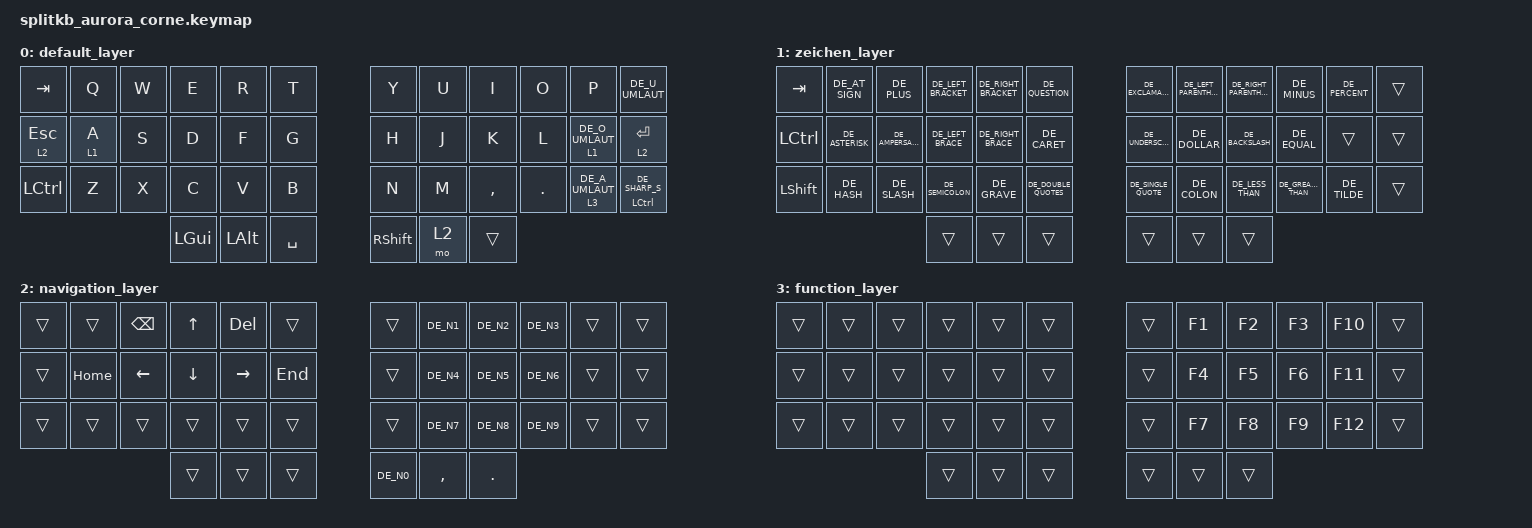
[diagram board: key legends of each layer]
/*
 * Copyright (c) 2020 The ZMK Contributors
 *
 * SPDX-License-Identifier: MIT
 */

#include <behaviors.dtsi>
#include <dt-bindings/zmk/keys.h>
#include <dt-bindings/zmk/bt.h>
#include <locale/keys_de.h>

/ {
        keymap {
                compatible = "zmk,keymap";

                default_layer { //0
// -----------------------------------------------------------------------------------------
// |  TAB |  Q  |  W  |  E  |  R  |  T  |   |  Z  |  U   |  I  |  O  |  P  | Ü |
// |  ESC + n_l   |  A + z_l |  S  |  D  |  F  |  G  |   |  H  |  J   |  K  |  L |  Ö + z_l  |  ENT + n_l  |
// | CTRL |  Y  |  X  |  C  |  V  |  B  |   |  N  |  M   |  ,  |  .  |  Ä + f_l | ß + STRG  |
//                    | GUI | LALT | SPC |   | RSHIFT | n_l  |  |
                        bindings = <
   &kp TAB   &kp Q &kp W &kp E &kp R &kp T   &kp Y &kp U  &kp I     &kp O   &kp P    &kp DE_U_UMLAUT
   &lt 2 ESC &lt 1 A &kp S &kp D &kp F &kp G   &kp H &kp J  &kp K     &kp L   &lt 1 DE_O_UMLAUT &lt 2 ENTER
   &kp LCTRL &kp Z &kp X &kp C &kp V &kp B   &kp N &kp M  &kp COMMA &kp DOT &lt 3 DE_A_UMLAUT &mt LCTRL DE_SHARP_S
                  &kp LGUI &kp LALT &kp SPACE   &kp RSHIFT &mo 2 &trans
                        >;
                };

                zeichen_layer { //1
// -----------------------------------------------------------------------------------------
// |  TAB |  @  |  +  |  [  |  ]  |  ?  |   |  !  |  (  |  )  |  -  |  %  |      |
// | CTRL |  *  |  &  |  {  |  }  |  ^  |   |  _  |  $  |  \  |  =  |     |      |
// | SHFT |  #  |  /  |  ;  |  `  |  "  |   |  '  |  :  |  <  |  >  |  ~  |      |
//                    |     |     |     |   |     |     |     |
                        bindings = <
   &kp    TAB   &kp DE_AT_SIGN  &kp DE_PLUS      &kp DE_LEFT_BRACKET &kp DE_RIGHT_BRACKET &kp DE_QUESTION                   &kp DE_EXCLAMATION  &kp DE_LEFT_PARENTHESIS  &kp DE_RIGHT_PARENTHESIS  &kp DE_MINUS        &kp DE_PERCENT    &trans
   &kp    LCTRL &kp DE_ASTERISK &kp DE_AMPERSAND &kp DE_LEFT_BRACE   &kp DE_RIGHT_BRACE   &kp DE_CARET                      &kp DE_UNDERSCORE   &kp DE_DOLLAR            &kp DE_BACKSLASH          &kp DE_EQUAL        &trans            &trans
   &kp    LSHFT &kp DE_HASH     &kp DE_SLASH     &kp DE_SEMICOLON    &kp DE_GRAVE         &kp DE_DOUBLE_QUOTES              &kp DE_SINGLE_QUOTE &kp DE_COLON             &kp DE_LESS_THAN          &kp DE_GREATER_THAN &kp DE_TILDE      &trans
                                                 &trans              &trans               &trans                            &trans              &trans                   &trans
                        >;
                };

                navigation_layer { //2
// -----------------------------------------------------------------------------------------
// |      |     |BSPC | UP  |DEL  |     |   |     |  1  |  2  |  3  |     |      |
// |      |HOME |LEFT |DOWN |RIGHT|END  |   |     |  4  |  5  |  6  |     |      |
// |      |     |     |     |     |     |   |     |  7  |  8  |  9  |     |      |
//                    |     |     |     |   |  0  |  ,  |  .  |
                        bindings = <
   &trans  &trans  &kp BSPC &kp UP &kp DEL &trans   &trans &kp DE_N1  &kp DE_N2 &kp DE_N3 &trans &trans
   &trans  &kp HOME &kp LEFT &kp DOWN &kp RIGHT &kp END    &trans &kp DE_N4 &kp DE_N5 &kp DE_N6  &trans &trans
   &trans &trans   &trans &trans   &trans   &trans      &trans &kp DE_N7  &kp DE_N8  &kp DE_N9 &trans &trans
                             &trans &trans   &trans   &kp DE_N0   &kp COMMA    &kp DOT
                        >;
                };

                function_layer { //3
// -----------------------------------------------------------------------------------------
// |      |     |     |     |     |     |   |     |  F1 |  F2 |  F3 | F10 |      |
// |      |     |     |     |     |     |   |     |  F4 |  F5 |  F6 | F11 |      |
// |      |     |     |     |     |     |   |     |  F7 |  F8 |  F9 | F12 |      |
//                    |     |     |     |   |     |     |     |
                        bindings = <
   &trans  &trans  &trans &trans &trans &trans   &trans &kp F1  &kp F2 &kp F3 &kp F10 &trans
   &trans  &trans &trans &trans &trans &trans    &trans &kp F4 &kp F5 &kp F6  &kp F11 &trans
   &trans &trans   &trans &trans   &trans   &trans      &trans &kp F7  &kp F8  &kp F9 &kp F12 &trans
                             &trans &trans   &trans    &trans    &trans    &trans
                        >;
                };

        };
};
